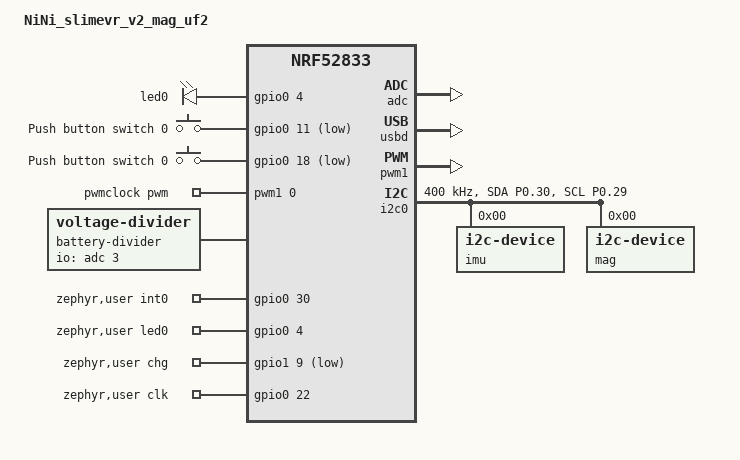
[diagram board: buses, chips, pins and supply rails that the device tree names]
// Copyright (c) 2024 Nordic Semiconductor ASA
// SPDX-License-Identifier: Apache-2.0

/dts-v1/;
#include <nordic/nrf52833_qdaa.dtsi>

//move to dtsi?

&pinctrl {
	i2c0_default: i2c0_default {
		group1 {
			psels = <NRF_PSEL(TWIM_SDA, 0, 30)>,
					<NRF_PSEL(TWIM_SCL, 0, 29)>;
		};
	};

	i2c0_sleep: i2c0_sleep {
		group1 {
			psels = <NRF_PSEL(TWIM_SDA, 0, 30)>,
					<NRF_PSEL(TWIM_SCL, 0, 29)>;
			low-power-enable;
		};
	};

	pwm1_default: pwm1_default {
		group1 {
			psels = <NRF_PIN_DISCONNECTED>;
		};
	};

	pwm1_sleep: pwm1_sleep {
		group1 {
			psels = <NRF_PIN_DISCONNECTED>;
			low-power-enable;
		};
	};
};
//end

/ {
	model = "NiNi_slimevr_v2_mag_uf2";
	compatible = "NiNi_slimevr_v2_mag_uf2";

	chosen {
		zephyr,sram = &sram0;
		zephyr,flash = &flash0;
		zephyr,console = &cdc_acm_uart0;
		zephyr,shell-uart = &cdc_acm_uart0;
	};


	leds {
		compatible = "gpio-leds";
		led0: led_0 {
			gpios = <&gpio0 4 GPIO_OPEN_SOURCE>;
		};
	};

	buttons {
		compatible = "gpio-keys";
		button0: button_0 {
			gpios = <&gpio0 11 (GPIO_PULL_UP | GPIO_ACTIVE_LOW)>;
			label = "Push button switch 0";
		};
		button1: button_1 {
			gpios = <&gpio0 18 (GPIO_PULL_UP | GPIO_ACTIVE_LOW)>;
			label = "Push button switch 0";
		};
	};

	aliases {
		sw0 = &button0;
		sw1 = &button1;
		led0 = &led0;
	};

	pwmclock: pwmclock {
		compatible = "pwm-clock";
		#clock-cells = <1>;
		pwms = <&pwm1 0 PWM_HZ(32768) PWM_POLARITY_NORMAL>;
	};

	battery-divider {
		compatible = "voltage-divider";
		status = "okay";
		io-channels = <&adc 3>;
		output-ohms = <40200>;
		full-ohms = <(100000+40200)>;
	};

	zephyr,user {
		int0-gpios = <&gpio0 30 0>;
		led0-gpios = <&gpio0 4 GPIO_ACTIVE_HIGH>;
		chg-gpios = <&gpio1 9 (GPIO_ACTIVE_LOW | GPIO_PULL_UP)>;
		clk-gpios = <&gpio0 22 GPIO_OPEN_DRAIN>; // Uncomment and set to correct pin if using an external clock (crystal oscillator)
	};
};


&reg1 {
	regulator-initial-mode = <NRF5X_REG_MODE_DCDC>;
};

&adc {
	status = "okay";
};

&gpiote {
	status = "okay";
};

&gpio0 {
	status = "okay";
};

&gpio1 {
	status = "okay";
};

zephyr_udc0: &usbd {
	compatible = "nordic,nrf-usbd";
	status = "okay";
	cdc_acm_uart0: cdc_acm_uart0 {
		compatible = "zephyr,cdc-acm-uart";
	};
};

&nfct {
	status = "disabled";
};

&pwm1 {
	status = "okay";
	pinctrl-0 = <&pwm1_default>;
	pinctrl-1 = <&pwm1_sleep>;
	pinctrl-names = "default", "sleep";
};

&i2c0 {
	compatible = "nordic,nrf-twim";
	status = "okay";
	zephyr,concat-buf-size = <1023>;
	zephyr,flash-buf-max-size = <1023>;
	clock-frequency = <I2C_BITRATE_FAST>;
	pinctrl-0 = <&i2c0_default>;
	pinctrl-1 = <&i2c0_sleep>;
	pinctrl-names = "default", "sleep";

	imu: imu@0 {
		compatible = "i2c-device";
		label = "imu";
		reg = <0>;
	};

	mag: mag@0 {
		compatible = "i2c-device";
		label = "mag";
		reg = <0>;
	};
};

